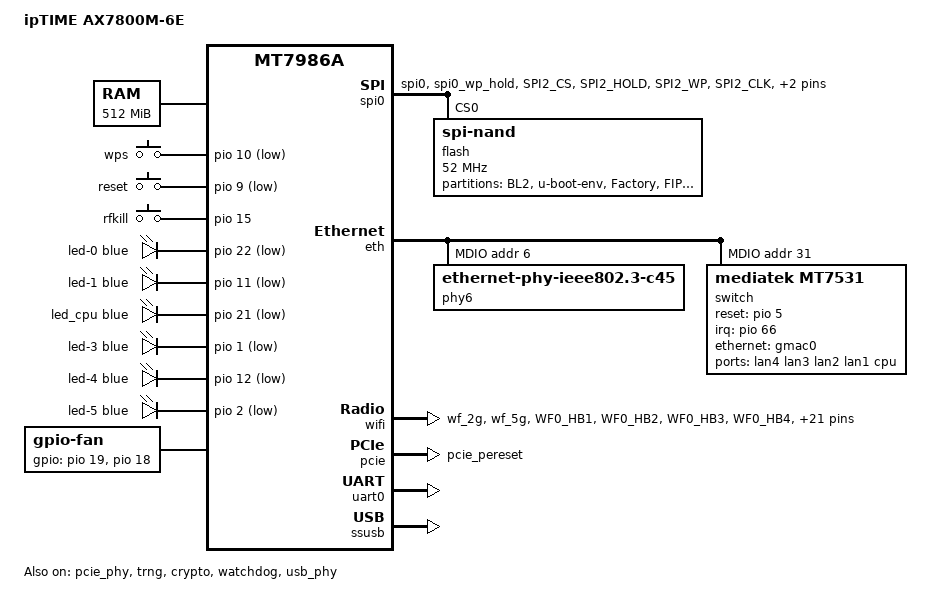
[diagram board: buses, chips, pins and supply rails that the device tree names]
// SPDX-License-Identifier: GPL-2.0-only OR MIT

/dts-v1/;
#include <dt-bindings/gpio/gpio.h>
#include <dt-bindings/input/input.h>
#include <dt-bindings/leds/common.h>
#include <dt-bindings/pinctrl/mt65xx.h>

#include "mt7986a.dtsi"

/ {
	model = "ipTIME AX7800M-6E";
	compatible = "iptime,ax7800m-6e", "mediatek,mt7986a";

	aliases {
		serial0 = &uart0;
		label-mac-device = &gmac1;
		led-boot = &led_cpu;
		led-failsafe = &led_cpu;
		led-running = &led_cpu;
		led-upgrade = &led_cpu;
	};

	chosen {
		stdout-path = "serial0:115200n8";
	};

	memory@40000000 {
		reg = <0 0x40000000 0 0x20000000>;
		device_type = "memory";
	};

	gpio-keys {
		compatible = "gpio-keys";

		button-0 {
			label = "wps";
			gpios = <&pio 10 GPIO_ACTIVE_LOW>;
			linux,code = <KEY_WPS_BUTTON>;
			debounce-interval = <60>;
		};

		button-1 {
			label = "reset";
			gpios = <&pio 9 GPIO_ACTIVE_LOW>;
			linux,code = <KEY_RESTART>;
			debounce-interval = <60>;
		};

		switch-0 {
			label = "rfkill";
			gpios = <&pio 15 GPIO_ACTIVE_HIGH>;
			linux,code = <KEY_RFKILL>;
			linux,input-type = <EV_SW>;
		};
	};

	leds {
		compatible = "gpio-leds";

		led-0 {
			color = <LED_COLOR_ID_BLUE>;
			function = LED_FUNCTION_POWER;
			gpios = <&pio 22 GPIO_ACTIVE_LOW>;
			linux,default-trigger = "default-on";
		};

		led-1 {
			color = <LED_COLOR_ID_BLUE>;
			function = LED_FUNCTION_USB;
			gpios = <&pio 11 GPIO_ACTIVE_LOW>;
		};

		led_cpu: led-2 {
			color = <LED_COLOR_ID_BLUE>;
			function = LED_FUNCTION_CPU;
			gpios = <&pio 21 GPIO_ACTIVE_LOW>;
		};

		led-3 {
			color = <LED_COLOR_ID_BLUE>;
			function = LED_FUNCTION_WLAN_2GHZ;
			gpios = <&pio 1 GPIO_ACTIVE_LOW>;
			linux,default-trigger = "phy0tpt";
		};

		led-4 {
			color = <LED_COLOR_ID_BLUE>;
			function = LED_FUNCTION_WLAN_6GHZ;
			gpios = <&pio 12 GPIO_ACTIVE_LOW>;
			linux,default-trigger = "phy1tpt";
		};

		led-5 {
			color = <LED_COLOR_ID_BLUE>;
			function = LED_FUNCTION_WLAN_5GHZ;
			gpios = <&pio 2 GPIO_ACTIVE_LOW>;
			linux,default-trigger = "phy2tpt";
		};
	};

	gpio-fan {
		compatible = "gpio-fan";
		gpios = <&pio 19 GPIO_ACTIVE_HIGH
				 &pio 18 GPIO_ACTIVE_HIGH>;
		/* We don't know the exact rpm, just use dummy values here. */
		gpio-fan,speed-map = <0 0>, <1 1>, <2 2>;
		#cooling-cells = <2>;
	};
};

&pio {
	spi_flash_pins: spi-flash-pins-33-to-38 {
		mux {
			function = "spi";
			groups = "spi0", "spi0_wp_hold";
		};

		conf-pu {
			pins = "SPI2_CS", "SPI2_HOLD", "SPI2_WP";
			drive-strength = <MTK_DRIVE_4mA>;
			bias-pull-up = <MTK_PUPD_SET_R1R0_11>;
		};

		conf-pd {
			pins = "SPI2_CLK", "SPI2_MOSI", "SPI2_MISO";
			drive-strength = <MTK_DRIVE_4mA>;
			bias-pull-down = <MTK_PUPD_SET_R1R0_11>;
		};
	};

	pcie_pins: pcie-pins {
		mux {
			function = "pcie";
			groups = "pcie_pereset";
		};
	};

	wf_2g_5g_pins: wf_2g_5g-pins {
		mux {
			function = "wifi";
			groups = "wf_2g", "wf_5g";
		};
		conf {
			pins = "WF0_HB1", "WF0_HB2", "WF0_HB3", "WF0_HB4",
				   "WF0_HB0", "WF0_HB0_B", "WF0_HB5", "WF0_HB6",
				   "WF0_HB7", "WF0_HB8", "WF0_HB9", "WF0_HB10",
				   "WF0_TOP_CLK", "WF0_TOP_DATA", "WF1_HB1",
				   "WF1_HB2", "WF1_HB3", "WF1_HB4", "WF1_HB0",
				   "WF1_HB5", "WF1_HB6", "WF1_HB7", "WF1_HB8",
				   "WF1_TOP_CLK", "WF1_TOP_DATA";
			drive-strength = <MTK_DRIVE_4mA>;
		};
	};

	wf_dbdc_pins: wf-dbdc-pins {
		mux {
			function = "wifi";
			groups = "wf_dbdc";
		};
		conf {
			pins = "WF0_HB1", "WF0_HB2", "WF0_HB3", "WF0_HB4",
				   "WF0_HB0", "WF0_HB0_B", "WF0_HB5", "WF0_HB6",
				   "WF0_HB7", "WF0_HB8", "WF0_HB9", "WF0_HB10",
				   "WF0_TOP_CLK", "WF0_TOP_DATA", "WF1_HB1",
				   "WF1_HB2", "WF1_HB3", "WF1_HB4", "WF1_HB0",
				   "WF1_HB5", "WF1_HB6", "WF1_HB7", "WF1_HB8",
				   "WF1_TOP_CLK", "WF1_TOP_DATA";
			drive-strength = <MTK_DRIVE_4mA>;
		};
	};
};

&spi0 {
	pinctrl-names = "default";
	pinctrl-0 = <&spi_flash_pins>;
	status = "okay";

	flash@0 {
		#address-cells = <1>;
		#size-cells = <1>;
		compatible = "spi-nand";
		reg = <0>;

		spi-max-frequency = <52000000>;
		spi-tx-buswidth = <4>;
		spi-rx-buswidth = <4>;

		partitions {
			compatible = "fixed-partitions";
			#address-cells = <1>;
			#size-cells = <1>;

			partition@0 {
				label = "BL2";
				reg = <0x0 0x100000>;
				read-only;
			};

			partition@100000 {
				label = "u-boot-env";
				reg = <0x100000 0x80000>;
			};

			partition@180000 {
				label = "Factory";
				reg = <0x180000 0x200000>;
				read-only;

				nvmem-layout {
					compatible = "fixed-layout";
					#address-cells = <1>;
					#size-cells = <1>;

					eeprom_factory_0: eeprom@0 {
						reg = <0x0 0x1000>;
					};

					macaddr_factory_4: macaddr@4 {
						compatible = "mac-base";
						reg = <0x4 0x6>;
						#nvmem-cell-cells = <1>;
					};

					eeprom_factory_a0000: eeprom@a0000 {
						reg = <0xa0000 0x1000>;
					};

					macaddr_factory_a0004: macaddr@a0004 {
						compatible = "mac-base";
						reg = <0xa0004 0x6>;
						#nvmem-cell-cells = <1>;
					};
				};
			};

			partition@380000 {
				label = "FIP";
				reg = <0x380000 0x200000>;
				read-only;
			};

			partition@580000 {
				label = "ubi";
				reg = <0x580000 0x6e00000>;
			};
		};
	};
};

&eth {
	status = "okay";

	gmac0: mac@0 {
		compatible = "mediatek,eth-mac";
		reg = <0>;
		phy-mode = "2500base-x";

		nvmem-cell-names = "mac-address";
		nvmem-cells = <&macaddr_factory_a0004 (3)>;

		fixed-link {
			speed = <2500>;
			full-duplex;
			pause;
		};
	};

	gmac1: mac@1 {
		compatible = "mediatek,eth-mac";
		reg = <1>;
		phy-mode = "2500base-x";
		phy-handle = <&phy6>;

		nvmem-cell-names = "mac-address";
		nvmem-cells = <&macaddr_factory_a0004 (1)>;
	};

	mdio: mdio-bus {
		#address-cells = <1>;
		#size-cells = <0>;
		reset-gpios = <&pio 6 GPIO_ACTIVE_LOW>;
		reset-delay-us = <50000>;
		reset-post-delay-us = <20000>;
	};
};

&mdio {
	phy6: phy@6 {
		compatible = "ethernet-phy-ieee802.3-c45";
		reg = <6>;

		leds {
			#address-cells = <1>;
			#size-cells = <0>;

			led@0 {
				reg = <0>;
				color = <LED_COLOR_ID_BLUE>;
				function = LED_FUNCTION_WAN;
			};
		};
	};

	switch@1f {
		compatible = "mediatek,mt7531";
		reg = <0x1f>;
		reset-gpios = <&pio 5 GPIO_ACTIVE_HIGH>;
		reset-assert-us = <10000>;
		reset-deassert-us = <10000>;

		interrupt-controller;
		#interrupt-cells = <1>;
		interrupt-parent = <&pio>;
		interrupts = <66 IRQ_TYPE_LEVEL_HIGH>;

		ports {
			#address-cells = <1>;
			#size-cells = <0>;

			port@0 {
				reg = <0>;
				label = "lan4";
			};

			port@1 {
				reg = <1>;
				label = "lan3";
			};

			port@2 {
				reg = <2>;
				label = "lan2";
			};

			port@3 {
				reg = <3>;
				label = "lan1";
			};

			port@6 {
				reg = <6>;
				label = "cpu";
				ethernet = <&gmac0>;
				phy-mode = "2500base-x";

				fixed-link {
					speed = <2500>;
					full-duplex;
					pause;
				};
			};
		};
	};
};

&wifi {
	nvmem-cells = <&eeprom_factory_0>;
	nvmem-cell-names = "eeprom";
	pinctrl-names = "default", "dbdc";
	pinctrl-0 = <&wf_2g_5g_pins>;
	pinctrl-1 = <&wf_dbdc_pins>;
	status = "okay";
};

&pcie {
	pinctrl-names = "default";
	pinctrl-0 = <&pcie_pins>;
	status = "okay";

	pcie@0,0 {
		reg = <0x0000 0 0 0 0>;
		#address-cells = <0x03>;
		#size-cells = <0x02>;

		wifi@0,0 {
			reg = <0x0000 0 0 0 0>;
			nvmem-cells = <&eeprom_factory_a0000>;
			nvmem-cell-names = "eeprom";

			band@0 {
				reg = <0>;
				nvmem-cells = <&macaddr_factory_a0004 (0)>;
				nvmem-cell-names = "mac-address";
			};

			band@1 {
				reg = <1>;
				nvmem-cells = <&macaddr_factory_a0004 (0)>;
				nvmem-cell-names = "mac-address";
			};

			band@2 {
				reg = <2>;
				nvmem-cells = <&macaddr_factory_4 (0)>;
				nvmem-cell-names = "mac-address";
			};
		};
	};
};

&pcie_phy {
	status = "okay";
};

&trng {
	status = "okay";
};

&crypto {
	status = "okay";
};

&uart0 {
	status = "okay";
};

&watchdog {
	status = "okay";
};

&ssusb {
	status = "okay";
};

&usb_phy {
	status = "okay";
};
